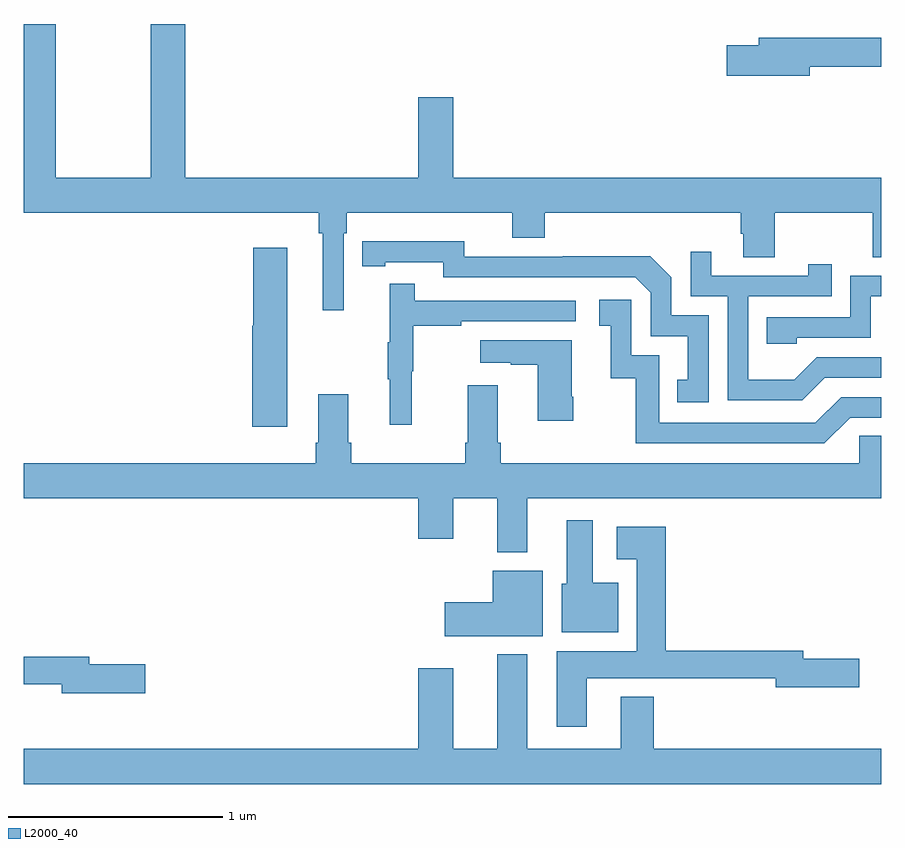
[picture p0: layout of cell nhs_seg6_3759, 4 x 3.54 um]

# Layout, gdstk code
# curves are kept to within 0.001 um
import gdstk
lib = gdstk.Library(unit=1e-6, precision=1e-09)
def P(c, l, *ps):  # polygons
    for p in ps: c.add(gdstk.Polygon(p, *l))
L2000_40 = (2000, 40)

nhs_seg6_3759 = lib.new_cell('nhs_seg6_3759')
P(nhs_seg6_3759, L2000_40, [(332.493,996.524),(332.507,996.524),(332.507,996.62),(333.278,996.62),(333.278,996.503),(333.431,996.503),(333.431,996.62),(334.343,996.62),(334.343,996.522),(334.355,996.522),(334.355,996.412),(334.503,996.412),(334.503,996.62),(334.96,996.62),(334.96,996.412),(335,996.412),(335,996.784),(333.004,996.784),(333.004,997.159),(332.84,997.159),(332.84,996.784),(331.754,996.784),(331.754,997.5),(331.594,997.5),(331.594,996.784),(331.149,996.784),(331.149,997.5),(331,997.5),(331,996.62),(332.377,996.62),(332.377,996.524),(332.396,996.524),(332.396,996.165),(332.493,996.165)],
  [(334.666,997.3),(335,997.3),(335,997.436),(334.427,997.436),(334.427,997.4),(334.278,997.4),(334.278,997.258),(334.666,997.258)],
  [(334.194,996.141),(334.02,996.141),(334.02,996.318),(333.922,996.416),(333.514,996.416),(333.514,996.414),(333.054,996.414),(333.054,996.487),(332.578,996.486),(332.578,996.37),(332.686,996.37),(332.686,996.39),(332.958,996.39),(332.958,996.318),(333.852,996.318),(333.924,996.246),(333.924,996.045),(334.097,996.045),(334.097,995.841),(334.048,995.841),(334.048,995.736),(334.194,995.736)],
  [(332.23,996.457),(332.072,996.457),(332.072,996.093),(332.066,996.093),(332.066,995.622),(332.23,995.622)],
  [(334.735,995.85),(335,995.85),(335,995.946),(334.698,995.946),(334.594,995.842),(334.38,995.842),(334.38,996.231),(334.769,996.231),(334.769,996.379),(334.658,996.379),(334.658,996.327),(334.207,996.327),(334.207,996.439),(334.11,996.439),(334.11,996.231),(334.284,996.231),(334.284,995.745),(334.63,995.745)],
  [(334.605,996.036),(334.95,996.036),(334.95,996.231),(335,996.231),(335,996.327),(334.854,996.327),(334.854,996.132),(334.465,996.132),(334.465,996.009),(334.605,996.009)],
  [(332.81,995.88),(332.818,995.88),(332.818,996.094),(333.041,996.094),(333.041,996.114),(333.574,996.114),(333.574,996.21),(332.825,996.21),(332.825,996.289),(332.708,996.289),(332.708,996.017),(332.697,996.017),(332.697,995.843),(332.708,995.843),(332.708,995.631),(332.81,995.631)],
  [(334.854,995.664),(335,995.664),(335,995.76),(334.812,995.76),(334.692,995.64),(333.963,995.64),(333.963,995.955),(333.834,995.955),(333.834,996.214),(333.684,996.214),(333.684,996.093),(333.737,996.093),(333.737,995.847),(333.855,995.847),(333.855,995.544),(334.734,995.544)],
  [(333.564,995.761),(333.556,995.761),(333.556,996.025),(333.129,996.025),(333.129,995.921),(333.272,995.921),(333.272,995.911),(333.398,995.911),(333.398,995.649),(333.564,995.649)],
  [(333.349,995.288),(335,995.288),(335,995.579),(334.896,995.579),(334.896,995.452),(333.224,995.452),(333.224,995.548),(333.211,995.548),(333.211,995.815),(333.071,995.815),(333.071,995.548),(333.059,995.548),(333.059,995.452),(332.528,995.452),(332.528,995.548),(332.515,995.548),(332.515,995.773),(332.375,995.773),(332.375,995.548),(332.363,995.548),(332.363,995.452),(331,995.452),(331,995.288),(332.84,995.288),(332.84,995.1),(333.004,995.1),(333.004,995.288),(333.209,995.288),(333.209,995.036),(333.349,995.036)],
  [(333.772,994.894),(333.655,994.894),(333.655,995.185),(333.533,995.185),(333.533,994.89),(333.509,994.89),(333.509,994.664),(333.772,994.664)],
  [(333.625,994.448),(333.978,994.448),(333.978,994.449),(334.508,994.449),(334.508,994.406),(334.897,994.406),(334.897,994.541),(334.636,994.541),(334.636,994.577),(333.995,994.577),(333.995,995.155),(333.765,995.155),(333.765,995.003),(333.86,995.003),(333.86,994.576),(333.485,994.576),(333.485,994.224),(333.625,994.224)],
  [(333.421,994.951),(333.188,994.951),(333.188,994.804),(332.964,994.804),(332.964,994.646),(333.421,994.646)],
  [(331.567,994.514),(331.306,994.514),(331.306,994.55),(331,994.55),(331,994.422),(331.178,994.422),(331.178,994.379),(331.567,994.379)],
  [(333.785,994.363),(333.785,994.12),(333.349,994.12),(333.349,994.561),(333.209,994.561),(333.209,994.12),(333.004,994.12),(333.004,994.495),(332.84,994.495),(332.84,994.12),(331,994.12),(331,993.956),(335,993.956),(335,994.12),(333.938,994.12),(333.938,994.363)])

lib.write_gds('nhs_seg6_3759.gds')
